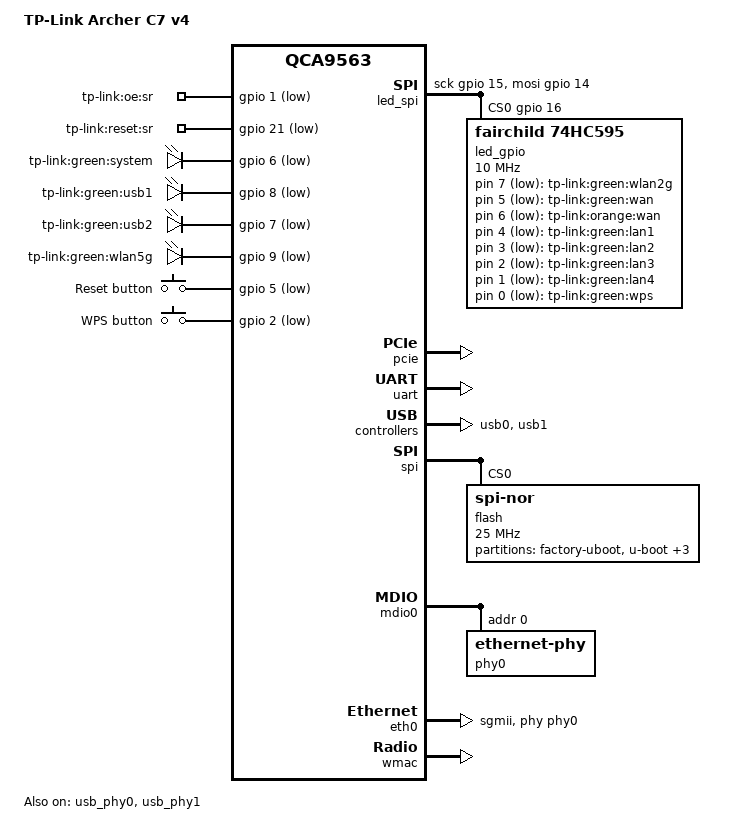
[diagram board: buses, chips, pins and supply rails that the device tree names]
// SPDX-License-Identifier: GPL-2.0-or-later OR MIT

#include "qca956x.dtsi"

#include <dt-bindings/gpio/gpio.h>
#include <dt-bindings/input/input.h>

/ {
	compatible = "tplink,archer-c7-v4", "qca,qca9563";
	model = "TP-Link Archer C7 v4";

	aliases {
		led-boot = &led_system;
		led-failsafe = &led_system;
		led-running = &led_system;
		led-upgrade = &led_system;
		label-mac-device = &eth0;
	};

	led_spi {
		compatible = "spi-gpio";
		#address-cells = <1>;
		#size-cells = <0>;

		sck-gpios = <&gpio 15 GPIO_ACTIVE_HIGH>;	// 74HC595 SRCLK (Serial Clock)
		mosi-gpios = <&gpio 14 GPIO_ACTIVE_HIGH>;	// 74HC595 SER (Serial)
		cs-gpios = <&gpio 16 GPIO_ACTIVE_HIGH>;		// 74HC595 RCLK (Register Clock)
		num-chipselects = <1>;

		led_gpio: led_gpio@0 {
			compatible = "fairchild,74hc595";
			reg = <0>;
			gpio-controller;
			#gpio-cells = <2>;
			registers-number = <1>;
			spi-max-frequency = <10000000>;
		};
	};

	gpio-export {
		compatible = "gpio-export";

		gpio_shift_register_oe {
			gpio-export,name = "tp-link:oe:sr";
			gpio-export,output = <0>;
			gpios = <&gpio 1 GPIO_ACTIVE_LOW>;	// 74HC595 /OE (Output Enable)
		};

		gpio_shift_register_reset {
			gpio-export,name = "tp-link:reset:sr";
			gpio-export,output = <1>;
			gpios = <&gpio 21 GPIO_ACTIVE_LOW>;	// 74HC595 /SRCLR (Serial Clear)
		};
	};

	leds {
		compatible = "gpio-leds";

		led_system: system {
			label = "tp-link:green:system";
			gpios = <&gpio 6 GPIO_ACTIVE_LOW>;
			default-state = "on";
		};

		usb1 {
			label = "tp-link:green:usb1";
			gpios = <&gpio 8 GPIO_ACTIVE_LOW>;
			trigger-sources = <&hub_port1>;
			linux,default-trigger = "usbport";
		};

		usb2 {
			label = "tp-link:green:usb2";
			gpios = <&gpio 7 GPIO_ACTIVE_LOW>;
			trigger-sources = <&hub_port0>;
			linux,default-trigger = "usbport";
		};

		wlan5g {
			label = "tp-link:green:wlan5g";
			gpios = <&gpio 9 GPIO_ACTIVE_LOW>;
			linux,default-trigger = "phy0tpt";
		};

		wlan2g {
			label = "tp-link:green:wlan2g";
			gpios = <&led_gpio 7 GPIO_ACTIVE_LOW>;
			linux,default-trigger = "phy1tpt";
		};

		wan {
			label = "tp-link:green:wan";
			gpios = <&led_gpio 5 GPIO_ACTIVE_LOW>;
		};

		wan_fail {
			label = "tp-link:orange:wan";
			gpios = <&led_gpio 6 GPIO_ACTIVE_LOW>;
		};

		lan1 {
			label = "tp-link:green:lan1";
			gpios = <&led_gpio 4 GPIO_ACTIVE_LOW>;
		};

		lan2 {
			label = "tp-link:green:lan2";
			gpios = <&led_gpio 3 GPIO_ACTIVE_LOW>;
		};

		lan3 {
			label = "tp-link:green:lan3";
			gpios = <&led_gpio 2 GPIO_ACTIVE_LOW>;
		};

		lan4 {
			label = "tp-link:green:lan4";
			gpios = <&led_gpio 1 GPIO_ACTIVE_LOW>;
		};

		wps {
			label = "tp-link:green:wps";
			gpios = <&led_gpio 0 GPIO_ACTIVE_LOW>;
		};
	};

	keys {
		compatible = "gpio-keys";

		reset {
			label = "Reset button";
			linux,code = <KEY_RESTART>;
			gpios = <&gpio 5 GPIO_ACTIVE_LOW>;
			debounce-interval = <60>;
		};

		wps {
			label = "WPS button";
			linux,code = <KEY_WPS_BUTTON>;
			gpios = <&gpio 2 GPIO_ACTIVE_LOW>;
			debounce-interval = <60>;
		};
	};
};

&pcie {
	status = "okay";
};

&uart {
	status = "okay";
};

&usb_phy0 {
	status = "okay";
};

&usb0 {
	#address-cells = <1>;
	#size-cells = <0>;
	status = "okay";

	hub_port0: port@1 {
		reg = <1>;
		#trigger-source-cells = <0>;
	};
};

&usb_phy1 {
	status = "okay";
};

&usb1 {
	#address-cells = <1>;
	#size-cells = <0>;
	status = "okay";

	hub_port1: port@1 {
		reg = <1>;
		#trigger-source-cells = <0>;
	};
};

&spi {
	status = "okay";

	num-cs = <1>;

	flash@0 {
		compatible = "jedec,spi-nor";
		reg = <0>;
		spi-max-frequency = <25000000>;

		partitions {
			compatible = "fixed-partitions";
			#address-cells = <1>;
			#size-cells = <1>;

			partition@0 {
				label = "factory-uboot";
				reg = <0x000000 0x020000>;
				read-only;
			};

			partition@20000 {
				label = "u-boot";
				reg = <0x020000 0x020000>;
				read-only;
			};

			partition@40000 {
				label = "firmware";
				reg = <0x040000 0xec0000>;
				compatible = "denx,uimage";
			};

			info: partition@f00000 {
				label = "info";
				reg = <0xf00000 0x0f0000>;
				read-only;
			};

			art: partition@ff0000 {
				label = "art";
				reg = <0xff0000 0x010000>;
				read-only;
			};
		};
	};
};

&mdio0 {
	status = "okay";

	phy-mask = <0>;

	phy0: ethernet-phy@0 {
		reg = <0>;
		phy-mode = "sgmii";
		qca,mib-poll-interval = <500>;

		qca,ar8327-initvals = <
			0x04 0x80080080 /* PORT0 PAD MODE CTRL */
			0x7c 0x0000007e /* PORT0_STATUS */
			0x94 0x00000200 /* PORT6_STATUS */
			>;
	};
};

&eth0 {
	status = "okay";

	pll-data = <0x03000101 0x00000101 0x00001919>;

	phy-mode = "sgmii";
	mtd-mac-address = <&info 0x8>;
	phy-handle = <&phy0>;
};

&wmac {
	status = "okay";

	mtd-cal-data = <&art 0x1000>;
	mtd-mac-address = <&info 0x8>;
};
